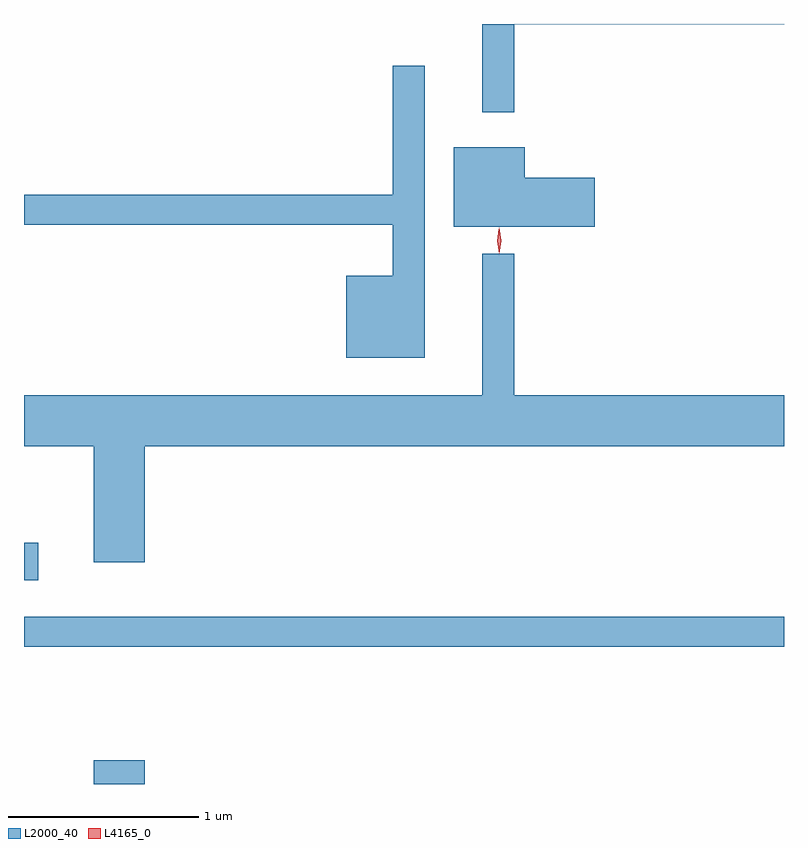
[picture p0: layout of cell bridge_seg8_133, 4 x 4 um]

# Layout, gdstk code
import gdstk
lib = gdstk.Library(unit=1e-6, precision=1e-09)
def R(c, l, rs):  # rectangles x0, y0, x1, y1
    for r in rs: c.add(gdstk.rectangle(r[:2], r[2:], *l))
def P(c, l, *ps):  # polygons
    for p in ps: c.add(gdstk.Polygon(p, *l))
L2000_40 = (2000, 40)
L4165_0 = (4165, 0)

bridge_seg8_133 = lib.new_cell('bridge_seg8_133')
R(bridge_seg8_133, L2000_40, [(1773.516,1810.218,1773.784,1810.344), (1773.149,1810.941,1777.149,1811.099), (1773.149,1811.291,1773.224,1811.489)])
P(bridge_seg8_133, L2000_40, [(1775.729,1814.216),(1777.149,1814.216),(1777.149,1814.218),(1773.149,1814.218),(1773.149,1814.216),(1775.561,1814.216),(1775.561,1813.753),(1775.729,1813.753)],
  [(1775.259,1813.998),(1775.091,1813.998),(1775.091,1813.319),(1773.149,1813.319),(1773.149,1813.161),(1775.091,1813.161),(1775.091,1812.894),(1774.846,1812.894),(1774.846,1812.461),(1775.259,1812.461)],
  [(1776.154,1813.409),(1775.784,1813.409),(1775.784,1813.569),(1775.411,1813.569),(1775.411,1813.151),(1776.154,1813.151)],
  [(1773.784,1811.996),(1777.149,1811.996),(1777.149,1812.264),(1775.729,1812.264),(1775.729,1813.008),(1775.561,1813.008),(1775.561,1812.264),(1773.149,1812.264),(1773.149,1811.996),(1773.516,1811.996),(1773.516,1811.386),(1773.784,1811.386)])
P(bridge_seg8_133, L4165_0, [(1775.649,1813.013),(1775.649,1813.013),(1775.639,1813.076),(1775.648,1813.139),(1775.649,1813.14),(1775.649,1813.139),(1775.659,1813.076),(1775.65,1813.013)],
  [(1775.649,1813.01),(1775.649,1813.01),(1775.64,1813.078),(1775.65,1813.145),(1775.651,1813.146),(1775.651,1813.145),(1775.66,1813.078),(1775.65,1813.01)])

lib.write_gds('bridge_seg8_133.gds')
